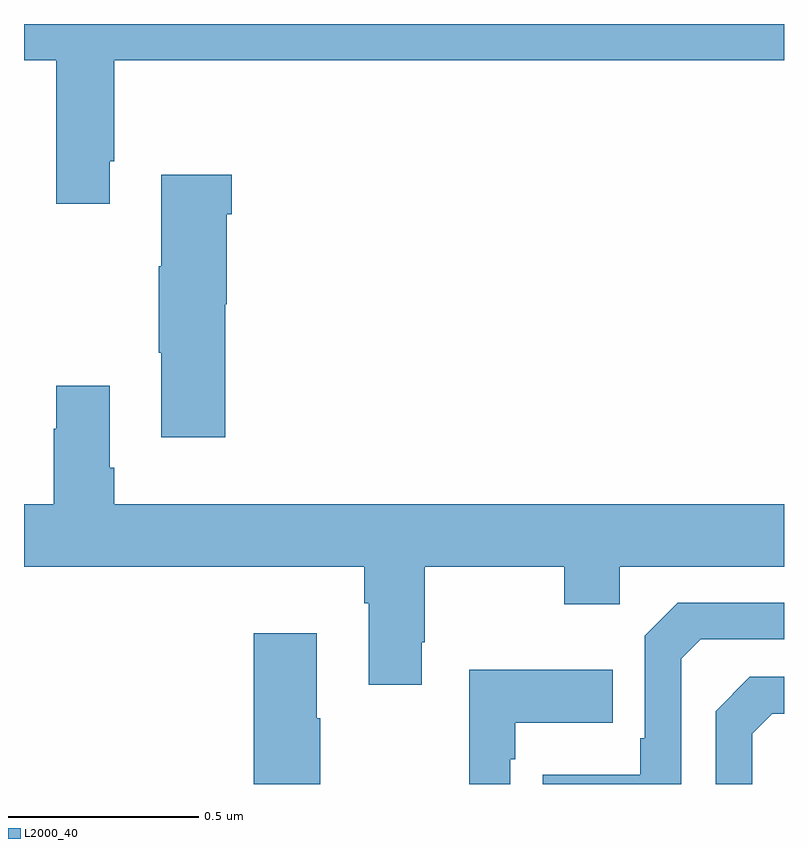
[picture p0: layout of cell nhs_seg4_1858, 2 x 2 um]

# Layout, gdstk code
import gdstk
lib = gdstk.Library(unit=1e-6, precision=1e-09)
def P(c, l, *ps):  # polygons
    for p in ps: c.add(gdstk.Polygon(p, *l))
L2000_40 = (2000, 40)

nhs_seg4_1858 = lib.new_cell('nhs_seg4_1858')
P(nhs_seg4_1858, L2000_40, [(133.225,812.539),(133.238,812.539),(133.238,812.804),(135,812.804),(135,812.9),(133,812.9),(133,812.804),(133.085,812.804),(133.085,812.427),(133.225,812.427)],
  [(133.529,812.163),(133.534,812.163),(133.534,812.399),(133.547,812.399),(133.547,812.503),(133.361,812.503),(133.361,812.263),(133.354,812.263),(133.354,812.035),(133.361,812.035),(133.361,811.812),(133.529,811.812)],
  [(134.047,811.273),(134.055,811.273),(134.055,811.472),(134.422,811.472),(134.422,811.373),(134.568,811.373),(134.568,811.472),(135,811.472),(135,811.636),(133.238,811.636),(133.238,811.732),(133.225,811.732),(133.225,811.948),(133.085,811.948),(133.085,811.835),(133.078,811.835),(133.078,811.636),(133,811.636),(133,811.472),(133.895,811.472),(133.895,811.376),(133.907,811.376),(133.907,811.161),(134.047,811.161)],
  [(134.73,811.23),(134.781,811.281),(135,811.281),(135,811.377),(134.721,811.377),(134.634,811.29),(134.634,811.021),(134.622,811.021),(134.622,810.925),(134.365,810.925),(134.365,810.9),(134.73,810.9)],
  [(133.779,811.073),(133.771,811.073),(133.771,811.297),(133.604,811.297),(133.604,810.9),(133.779,810.9)],
  [(134.28,810.965),(134.293,810.965),(134.293,811.061),(134.549,811.061),(134.549,811.201),(134.172,811.201),(134.172,810.9),(134.28,810.9)],
  [(134.916,811.032),(134.969,811.085),(135,811.085),(135,811.182),(134.91,811.182),(134.82,811.092),(134.82,810.9),(134.916,810.9)])

lib.write_gds('nhs_seg4_1858.gds')
